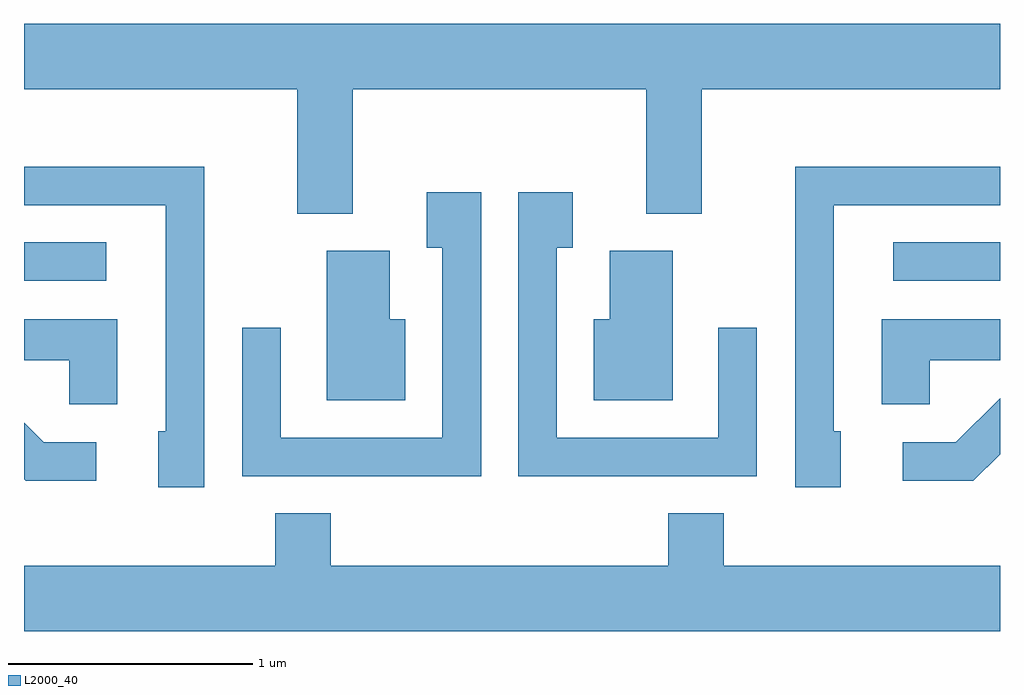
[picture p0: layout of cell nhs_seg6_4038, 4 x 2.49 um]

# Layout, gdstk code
import gdstk
lib = gdstk.Library(unit=1e-6, precision=1e-09)
def R(c, l, rs):  # rectangles x0, y0, x1, y1
    for r in rs: c.add(gdstk.rectangle(r[:2], r[2:], *l))
def P(c, l, *ps):  # polygons
    for p in ps: c.add(gdstk.Polygon(p, *l))
L2000_40 = (2000, 40)

nhs_seg6_4038 = lib.new_cell('nhs_seg6_4038')
R(nhs_seg6_4038, L2000_40, [(307.611,1598.091,307.948,1598.249), (311.173,1598.091,311.611,1598.249)])
P(nhs_seg6_4038, L2000_40, [(308.959,1598.876),(310.161,1598.876),(310.161,1598.366),(310.389,1598.366),(310.389,1598.876),(311.611,1598.876),(311.611,1599.144),(307.611,1599.144),(307.611,1598.876),(308.731,1598.876),(308.731,1598.366),(308.959,1598.366)],
  [(308.349,1598.559),(307.611,1598.559),(307.611,1598.401),(308.191,1598.401),(308.191,1597.474),(308.161,1597.474),(308.161,1597.246),(308.349,1597.246)],
  [(310.959,1597.474),(310.929,1597.474),(310.929,1598.401),(311.611,1598.401),(311.611,1598.559),(310.771,1598.559),(310.771,1597.246),(310.959,1597.246)],
  [(309.484,1598.454),(309.261,1598.454),(309.261,1598.226),(309.326,1598.226),(309.326,1597.449),(308.664,1597.449),(308.664,1597.898),(308.506,1597.898),(308.506,1597.291),(309.484,1597.291)],
  [(310.614,1597.898),(310.456,1597.898),(310.456,1597.449),(309.794,1597.449),(309.794,1598.226),(309.859,1598.226),(309.859,1598.454),(309.636,1598.454),(309.636,1597.291),(310.614,1597.291)],
  [(309.174,1597.934),(309.109,1597.934),(309.109,1598.214),(308.851,1598.214),(308.851,1597.601),(309.174,1597.601)],
  [(310.269,1598.214),(310.011,1598.214),(310.011,1597.934),(309.946,1597.934),(309.946,1597.601),(310.269,1597.601)],
  [(311.324,1597.766),(311.611,1597.766),(311.611,1597.934),(311.126,1597.934),(311.126,1597.586),(311.324,1597.586)],
  [(307.994,1597.934),(307.611,1597.934),(307.611,1597.766),(307.796,1597.766),(307.796,1597.586),(307.994,1597.586)],
  [(311.611,1597.38),(311.611,1597.611),(311.429,1597.429),(311.213,1597.429),(311.213,1597.271),(311.502,1597.271)],
  [(307.908,1597.429),(307.692,1597.429),(307.611,1597.51),(307.611,1597.279),(307.619,1597.271),(307.908,1597.271)],
  [(311.611,1596.924),(310.479,1596.924),(310.479,1597.139),(310.251,1597.139),(310.251,1596.924),(308.869,1596.924),(308.869,1597.139),(308.641,1597.139),(308.641,1596.924),(307.611,1596.924),(307.611,1596.656),(311.611,1596.656)])

lib.write_gds('nhs_seg6_4038.gds')
